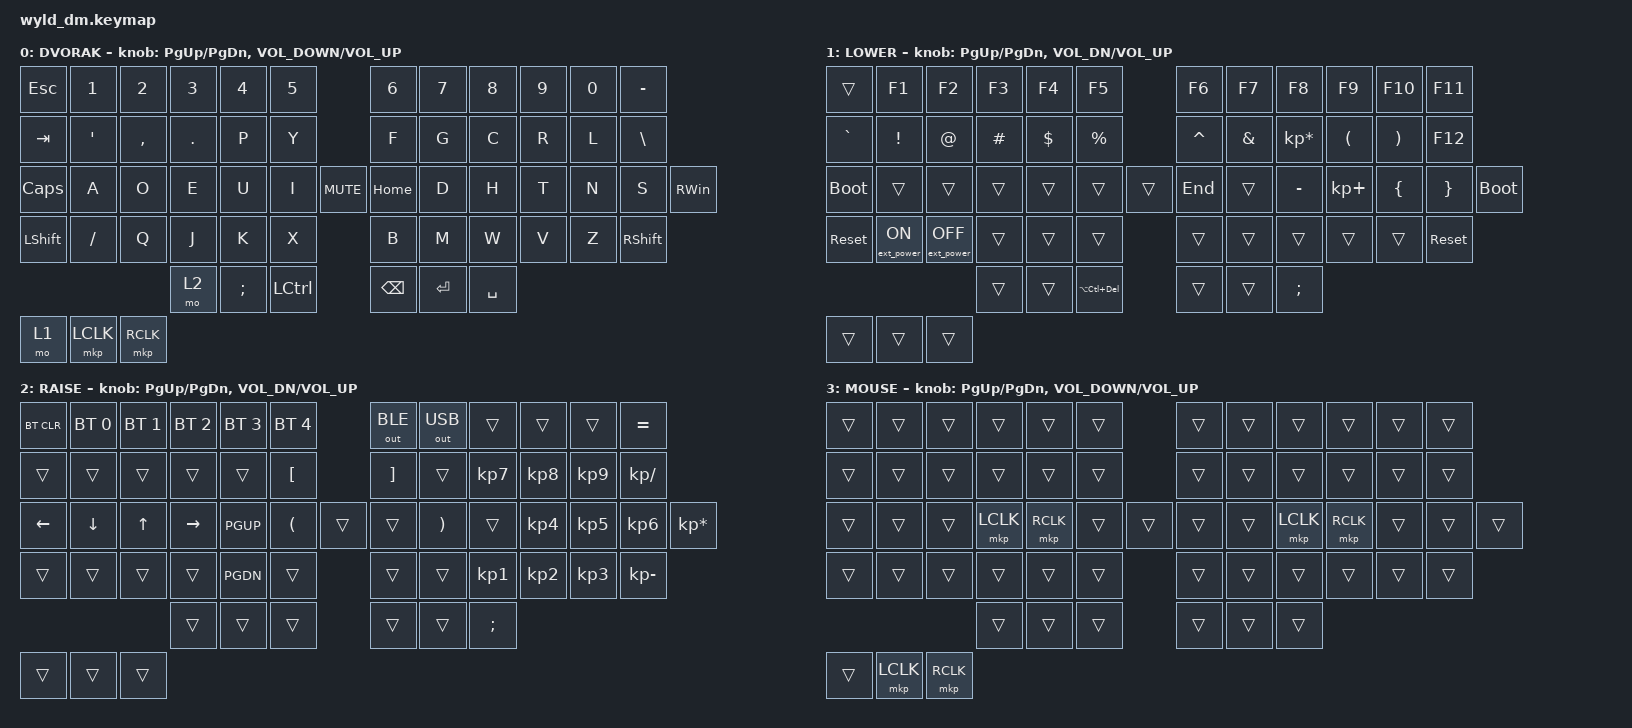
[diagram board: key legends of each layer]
/*
 * Copyright (c) 2020 The ZMK Contributors
 *
 * SPDX-License-Identifier: MIT
 */

#include <behaviors/mouse_keys.dtsi>
#include <dt-bindings/zmk/mouse.h>
#include <behaviors.dtsi>
#include <dt-bindings/zmk/bt.h>
#include <dt-bindings/zmk/ext_power.h>
#include <dt-bindings/zmk/keys.h>
#include <dt-bindings/zmk/outputs.h>
#include <dt-bindings/zmk/pointing.h>

#define QWERTY 0
#define LOWER 1
#define RAISE 2
#define MOUSE 3

// 5x6

/ {
    keymap {
        compatible = "zmk,keymap";

        DVORAK {
            display-name = "DVORAK";
            bindings = <
&kp ESC    &kp N1     &kp N2     &kp N3      &kp N4         &kp N5                 &kp N6    &kp N7     &kp N8     &kp N9  &kp N0  &kp MINUS
&kp TAB    &kp SQT    &kp COMMA  &kp PERIOD  &kp P          &kp Y                  &kp F     &kp G      &kp C      &kp R   &kp L   &kp BACKSLASH
&kp CAPS   &kp A      &kp O      &kp E       &kp U          &kp I      &kp K_MUTE  &kp HOME  &kp D      &kp H      &kp T   &kp N   &kp S          &kp RIGHT_WIN
&kp LSHFT  &kp SLASH  &kp Q      &kp J       &kp K          &kp X                  &kp B     &kp M      &kp W      &kp V   &kp Z   &kp RSHFT
                                 &mo 2       &kp SEMICOLON  &kp LCTRL              &kp BSPC  &kp ENTER  &kp SPACE
&mo 1      &mkp LCLK  &mkp RCLK
            >;

            sensor-bindings =
                <&inc_dec_kp PG_UP PG_DN>,
                <&inc_dec_kp C_VOLUME_DOWN C_VOLUME_UP>;
        };

        lower_layer {
            display-name = "LOWER";
            bindings = <
&trans       &kp F1            &kp F2             &kp F3    &kp F4      &kp F5                      &kp F6     &kp F7    &kp F8           &kp F9       &kp F10   &kp F11
&kp GRAVE    &kp EXCL          &kp AT             &kp HASH  &kp DOLLAR  &kp PRCNT                   &kp CARET  &kp AMPS  &kp KP_MULTIPLY  &kp LPAR     &kp RPAR  &kp F12
&bootloader  &trans            &trans             &trans    &trans      &trans              &trans  &kp END    &trans    &kp MINUS        &kp KP_PLUS  &kp LBRC  &kp RBRC    &bootloader
&sys_reset   &ext_power EP_ON  &ext_power EP_OFF  &trans    &trans      &trans                      &trans     &trans    &trans           &trans       &trans    &sys_reset
                                                  &trans    &trans      &kp LA(LC(DELETE))          &trans     &trans    &kp SEMI
&trans       &trans            &trans
            >;

            sensor-bindings =
                <&inc_dec_kp PG_UP PG_DN>,
                <&inc_dec_kp C_VOL_DN C_VOL_UP>;
        };

        raise_layer {
            display-name = "RAISE";
            bindings = <
&bt BT_CLR  &bt BT_SEL 0  &bt BT_SEL 1  &bt BT_SEL 2  &bt BT_SEL 3  &bt BT_SEL 4          &out OUT_BLE  &out OUT_USB  &trans     &trans     &trans     &kp EQUAL
&trans      &trans        &trans        &trans        &trans        &kp LBKT              &kp RBKT      &trans        &kp KP_N7  &kp KP_N8  &kp KP_N9  &kp KP_DIVIDE
&kp LEFT    &kp DOWN      &kp UP        &kp RIGHT     &kp PGUP      &kp LPAR      &trans  &trans        &kp RPAR      &trans     &kp KP_N4  &kp KP_N5  &kp KP_N6      &kp KP_MULTIPLY
&trans      &trans        &trans        &trans        &kp PGDN      &trans                &trans        &trans        &kp KP_N1  &kp KP_N2  &kp KP_N3  &kp KP_MINUS
                                        &trans        &trans        &trans                &trans        &trans        &kp SEMI
&trans      &trans        &trans
            >;

            sensor-bindings =
                <&inc_dec_kp PG_UP PG_DN>,
                <&inc_dec_kp C_VOL_DN C_VOL_UP>;
        };

        mouse_layer {
            display-name = "MOUSE";
            bindings = <
&trans  &trans     &trans     &trans     &trans     &trans          &trans  &trans  &trans     &trans     &trans  &trans
&trans  &trans     &trans     &trans     &trans     &trans          &trans  &trans  &trans     &trans     &trans  &trans
&trans  &trans     &trans     &mkp LCLK  &mkp RCLK  &trans  &trans  &trans  &trans  &mkp LCLK  &mkp RCLK  &trans  &trans  &trans
&trans  &trans     &trans     &trans     &trans     &trans          &trans  &trans  &trans     &trans     &trans  &trans
                              &trans     &trans     &trans          &trans  &trans  &trans
&trans  &mkp LCLK  &mkp RCLK
            >;

            sensor-bindings =
                <&inc_dec_kp PG_UP PG_DN>,
                <&inc_dec_kp C_VOLUME_DOWN C_VOLUME_UP>;
        };
    };
};
